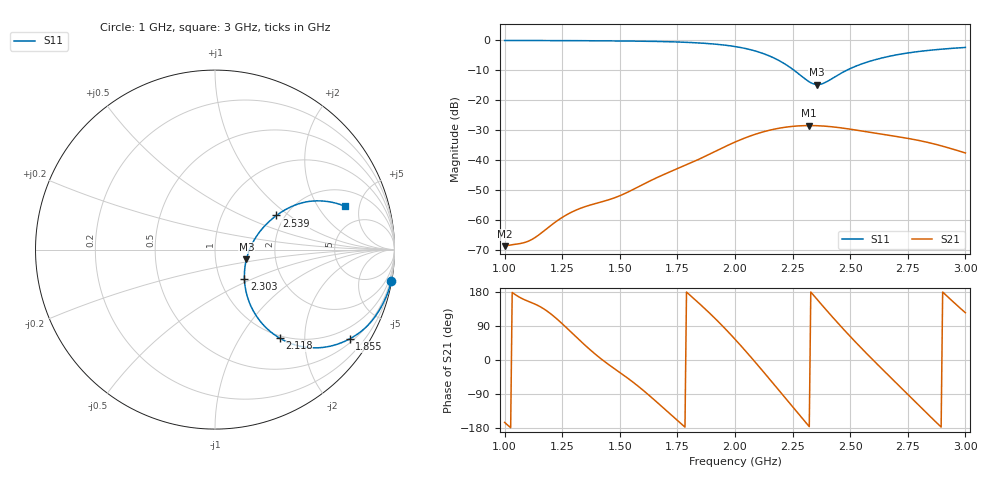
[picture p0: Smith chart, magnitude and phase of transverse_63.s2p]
! TOUCHSTONE file generated by CST MICROWAVE STUDIO
! Date and time: Tue Mar 11 13:56:25 2025
! Project name: transverse.cst
! Parameters = {Fracture=1; B=12.5; D=160; F=25; Feed=2.85625; L=100; M=10; R=0.384908; S=2; Theta=0; length=57.125; wave=114.25}
! Header version: 2024
! Port assignment regex: !\s*Touchstone port\s*([0-9]+)\s*=\s*(CST MWS port|CST DES external port|CST DES block port)\s*(.+)\s* \(\"(.*)\"\)(\s*mode\s*([0-9]+))?.*
! Touchstone port assignment:
! Touchstone port 1 = CST MWS port 1 ("")
! Touchstone port 2 = CST MWS port 2 ("")
# GHz S MA R 50
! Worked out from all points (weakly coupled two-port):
!   305 points, 1 GHz to 3 GHz, reference 50 ohm
!   highest |S21| = -28.44 dB at 2.322 GHz (marker M1); lowest = -68.7 dB at 1 GHz (marker M2)
!   lowest |S11| = -14.7 dB at 2.355 GHz (marker M3), VSWR 1.45, Z = 70.7 - j7.76 ohm
!   |S11| at or under -10 dB: 2.257 GHz to 2.484 GHz (227.2 MHz wide, 9.59 % of centre)
!   S12 and S22 are empty: the file has one direction only
!   S11 on the Smith chart (normalised r, x): 1 GHz: 0, -11; 1.855 GHz: 0.61, -3.22; 2.118 GHz: 0.96, -1.51; 2.303 GHz: 1.31, -0.44; 2.539 GHz: 1.81, +0.81; 3 GHz: 3.11, +3.59
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1  0.9978 -10.0  0.0003665 -164.7  0 0.0  0 0.0
1.07895  0.9966 -11.1  0.0004141 161.1  0 0.0  0 0.0
1.11184  0.996 -11.6  0.0004602 152.6  0 0.0  0 0.0
1.25  0.9925 -13.9  0.001107 95.8  0 0.0  0 0.0
1.33553  0.9889 -15.5  0.001605 46.6  0 0.0  0 0.0
1.49342  0.9795 -19.0  0.002487 -30.1  0 0.0  0 0.0
1.67105  0.9592 -24.6  0.005324 -116.6  0 0.0  0 0.0
1.85526  0.9009 -33.5  0.0109 143.3  0 0.0  0 0.0
2  0.7899 -43.9  0.02006 54.9  0 0.0  0 0.0
2.05921  0.7121 -48.9  0.02479 14.5  0 0.0  0 0.0
2.11842  0.6112 -53.8  0.02941 -27.5  0 0.0  0 0.0
2.21053  0.4176 -58.1  0.03514 -94.5  0 0.0  0 0.0
2.30263  0.2299 -44.6  0.03775 -161.7  0 0.0  0 0.0
2.32237  0.2034 -36.0  0.03784 -175.9  0 0.0  0 0.0
2.33553  0.1913 -28.8  0.03781 174.7  0 0.0  0 0.0
2.35526  0.183 -16.8  0.03764 160.6  0 0.0  0 0.0
2.38816  0.1954 2.1  0.03703 137.5  0 0.0  0 0.0
2.47368  0.3019 25.1  0.03409 79.4  0 0.0  0 0.0
2.53947  0.3912 29.1  0.03119 37.0  0 0.0  0 0.0
2.67105  0.5444 28.4  0.02591 -43.4  0 0.0  0 0.0
2.83553  0.6782 23.3  0.01985 -142.1  0 0.0  0 0.0
3  0.7628 18.4  0.01319 124.7  0 0.0  0 0.0
